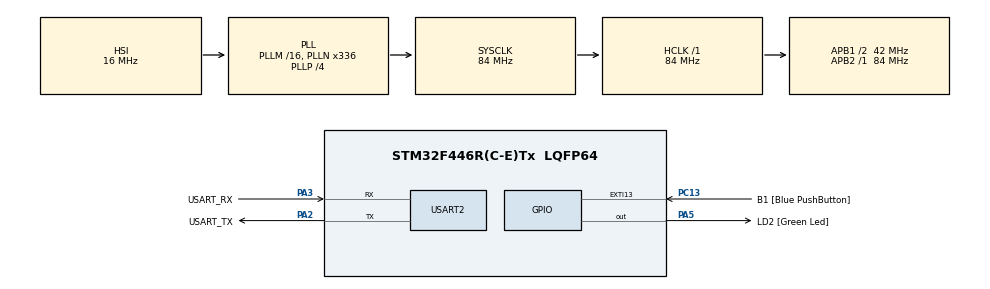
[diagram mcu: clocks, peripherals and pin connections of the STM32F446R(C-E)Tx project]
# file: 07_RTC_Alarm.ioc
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Mcu.Family=STM32F4
Mcu.Name=STM32F446R(C-E)Tx
Mcu.Package=LQFP64
NVIC.PriorityGroup=NVIC_PRIORITYGROUP_0
NVIC.RTC_Alarm_IRQn=true\:0\:0\:false\:false\:true\:true\:true\:true
PA13.GPIO_Label=TMS
PA13.Mode=Serial_Wire
PA13.Signal=SYS_JTMS-SWDIO
PA14.GPIO_Label=TCK
PA14.Mode=Serial_Wire
PA14.Signal=SYS_JTCK-SWCLK
PA2.GPIO_Label=USART_TX
PA2.Mode=Asynchronous
PA2.Signal=USART2_TX
PA3.GPIO_Label=USART_RX
PA3.Mode=Asynchronous
PA3.Signal=USART2_RX
PA5.GPIO_Label=LD2 [Green Led]
PA5.Signal=GPIO_Output
PB3.GPIO_Label=SWO
PB3.Signal=SYS_JTDO-SWO
PC13.GPIO_Label=B1 [Blue PushButton]
PC13.GPIO_ModeDefaultEXTI=GPIO_MODE_IT_FALLING
PC13.Signal=GPXTI13
PC14-OSC32_IN.Mode=LSE-External-Oscillator
PC14-OSC32_IN.Signal=RCC_OSC32_IN
PC15-OSC32_OUT.Mode=LSE-External-Oscillator
PC15-OSC32_OUT.Signal=RCC_OSC32_OUT
PH0-OSC_IN.Mode=HSE-External-Oscillator
PH0-OSC_IN.Signal=RCC_OSC_IN
PH1-OSC_OUT.Mode=HSE-External-Oscillator
PH1-OSC_OUT.Signal=RCC_OSC_OUT
ProjectManager.HeapSize=0x200
ProjectManager.StackSize=0x400
ProjectManager.TargetToolchain=CMake
RCC.48MHZClocksFreq_Value=84000000
RCC.AHBFreq_Value=84000000
RCC.APB1CLKDivider=RCC_HCLK_DIV2
RCC.APB1Freq_Value=42000000
RCC.APB1TimFreq_Value=84000000
RCC.APB2Freq_Value=84000000
RCC.APB2TimFreq_Value=84000000
RCC.CortexFreq_Value=84000000
RCC.FLatency-AdvancedSettings=FLASH_LATENCY_2
RCC.HCLKFreq_Value=84000000
RCC.HSE_VALUE=8000000
RCC.HSI_VALUE=16000000
RCC.PLLN=336
RCC.PLLP=RCC_PLLP_DIV4
RCC.SYSCLKFreq_VALUE=84000000
RCC.SYSCLKSource=RCC_SYSCLKSOURCE_PLLCLK
RCC.USBFreq_Value=168000000
RCC.VCOOutputFreq_Value=336000000
RTC.Alarm=RTC_ALARM_A
USART2.VirtualMode=VM_ASYNC
VP_RTC_VS_RTC_Activate.Mode=RTC_Enabled
VP_RTC_VS_RTC_Alarm_A_Intern.Mode=Alarm A
VP_RTC_VS_RTC_Calendar.Mode=RTC_Calendar
board=NUCLEO-F446RE

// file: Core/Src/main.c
/* USER CODE BEGIN Header */
/**
 ******************************************************************************
 * @file           : main.c
 * @brief          : Main program body
 ******************************************************************************
 * @attention
 *
 * Copyright (c) 2025 STMicroelectronics.
 * All rights reserved.
 *
 * This software is licensed under terms that can be found in the LICENSE file
 * in the root directory of this software component.
 * If no LICENSE file comes with this software, it is provided AS-IS.
 *
 ******************************************************************************
 */
/* USER CODE END Header */
#include "main.h"

/* USER CODE BEGIN Includes */
#include <stdio.h>
#include <string.h>
/* USER CODE END Includes */

RTC_HandleTypeDef hrtc;

UART_HandleTypeDef huart2;

void SystemClock_Config(void);
static void MX_GPIO_Init(void);
static void MX_USART2_UART_Init(void);
static void MX_RTC_Init(void);

int main(void)
{

  /* MCU Configuration--------------------------------------------------------*/

  /* Reset of all peripherals, Initializes the Flash interface and the Systick. */
  HAL_Init();

  /* Configure the system clock */
  SystemClock_Config();

  /* Initialize all configured peripherals */
  MX_GPIO_Init();
  MX_USART2_UART_Init();
  MX_RTC_Init();
  /* USER CODE BEGIN 2 */
  /* 1. Imposta Orario Corrente (es. 12:00:00) */
  RTC_TimeTypeDef sTime = {0};
  sTime.Hours = 0x12; // Formato BCD (es. 0x12 = 12 dec)
  sTime.Minutes = 0x00;
  sTime.Seconds = 0x00;
  HAL_RTC_SetTime(&hrtc, &sTime, RTC_FORMAT_BCD);

  /* 2. Imposta Allarme (es. 12:00:10 - Tra 10 secondi) */
  RTC_AlarmTypeDef sAlarm = {0};
  sAlarm.AlarmTime.Hours = 0x12;
  sAlarm.AlarmTime.Minutes = 0x00;
  sAlarm.AlarmTime.Seconds = 0x10;
  sAlarm.Alarm = RTC_ALARM_A;
  // Maschera la data: l'allarme suonerà ogni giorno a quest'ora
  sAlarm.AlarmMask = RTC_ALARMMASK_DATEWEEKDAY;

  HAL_RTC_SetAlarm_IT(&hrtc, &sAlarm, RTC_FORMAT_BCD);
  /* USER CODE END 2 */

  /* Infinite loop */
  while (1)
  {
    RTC_TimeTypeDef gTime;
    RTC_DateTypeDef gDate;

    // NECESSARIO: Leggere sempre PRIMA l'ora e POI la data per sbloccare i registri
    HAL_RTC_GetTime(&hrtc, &gTime, RTC_FORMAT_BIN);
    HAL_RTC_GetDate(&hrtc, &gDate, RTC_FORMAT_BIN);

    // Stampa su UART
    char msg[30];
    sprintf(msg, "Time: %02d:%02d:%02d\r", gTime.Hours, gTime.Minutes, gTime.Seconds);
    HAL_UART_Transmit(&huart2, (uint8_t *)msg, strlen(msg), 100);

    HAL_Delay(1000);
  }
}

void SystemClock_Config(void)
{
  RCC_OscInitTypeDef RCC_OscInitStruct = {0};
  RCC_ClkInitTypeDef RCC_ClkInitStruct = {0};

  /** Configure the main internal regulator output voltage
   */
  __HAL_RCC_PWR_CLK_ENABLE();
  __HAL_PWR_VOLTAGESCALING_CONFIG(PWR_REGULATOR_VOLTAGE_SCALE3);

  /** Initializes the RCC Oscillators according to the specified parameters
   * in the RCC_OscInitTypeDef structure.
   */
  RCC_OscInitStruct.OscillatorType = RCC_OSCILLATORTYPE_HSI | RCC_OSCILLATORTYPE_LSI;
  RCC_OscInitStruct.LSEState = RCC_LSE_ON;
  RCC_OscInitStruct.HSIState = RCC_HSI_ON;
  RCC_OscInitStruct.HSICalibrationValue = RCC_HSICALIBRATION_DEFAULT;
  RCC_OscInitStruct.LSIState = RCC_LSI_ON;
  RCC_OscInitStruct.PLL.PLLState = RCC_PLL_ON;
  RCC_OscInitStruct.PLL.PLLSource = RCC_PLLSOURCE_HSI;
  RCC_OscInitStruct.PLL.PLLM = 16;
  RCC_OscInitStruct.PLL.PLLN = 336;
  RCC_OscInitStruct.PLL.PLLP = RCC_PLLP_DIV4;
  RCC_OscInitStruct.PLL.PLLQ = 2;
  RCC_OscInitStruct.PLL.PLLR = 2;
  if (HAL_RCC_OscConfig(&RCC_OscInitStruct) != HAL_OK)
  {
    Error_Handler();
  }

  /** Initializes the CPU, AHB and APB buses clocks
   */
  RCC_ClkInitStruct.ClockType = RCC_CLOCKTYPE_HCLK | RCC_CLOCKTYPE_SYSCLK | RCC_CLOCKTYPE_PCLK1 | RCC_CLOCKTYPE_PCLK2;
  RCC_ClkInitStruct.SYSCLKSource = RCC_SYSCLKSOURCE_PLLCLK;
  RCC_ClkInitStruct.AHBCLKDivider = RCC_SYSCLK_DIV1;
  RCC_ClkInitStruct.APB1CLKDivider = RCC_HCLK_DIV2;
  RCC_ClkInitStruct.APB2CLKDivider = RCC_HCLK_DIV1;

  if (HAL_RCC_ClockConfig(&RCC_ClkInitStruct, FLASH_LATENCY_2) != HAL_OK)
  {
    Error_Handler();
  }
}

static void MX_RTC_Init(void)
{

  RTC_TimeTypeDef sTime = {0};
  RTC_DateTypeDef sDate = {0};
  RTC_AlarmTypeDef sAlarm = {0};

  /** Initialize RTC Only
   */
  hrtc.Instance = RTC;
  hrtc.Init.HourFormat = RTC_HOURFORMAT_24;
  hrtc.Init.AsynchPrediv = 127;
  hrtc.Init.SynchPrediv = 255;
  hrtc.Init.OutPut = RTC_OUTPUT_DISABLE;
  hrtc.Init.OutPutPolarity = RTC_OUTPUT_POLARITY_HIGH;
  hrtc.Init.OutPutType = RTC_OUTPUT_TYPE_OPENDRAIN;
  if (HAL_RTC_Init(&hrtc) != HAL_OK)
  {
    Error_Handler();
  }

  /** Initialize RTC and set the Time and Date
   */
  sTime.Hours = 0x0;
  sTime.Minutes = 0x0;
  sTime.Seconds = 0x0;
  sTime.DayLightSaving = RTC_DAYLIGHTSAVING_NONE;
  sTime.StoreOperation = RTC_STOREOPERATION_RESET;
  if (HAL_RTC_SetTime(&hrtc, &sTime, RTC_FORMAT_BCD) != HAL_OK)
  {
    Error_Handler();
  }
  sDate.WeekDay = RTC_WEEKDAY_MONDAY;
  sDate.Month = RTC_MONTH_JANUARY;
  sDate.Date = 0x1;
  sDate.Year = 0x0;

  if (HAL_RTC_SetDate(&hrtc, &sDate, RTC_FORMAT_BCD) != HAL_OK)
  {
    Error_Handler();
  }

  /** Enable the Alarm A
   */
  sAlarm.AlarmTime.Hours = 0x0;
  sAlarm.AlarmTime.Minutes = 0x0;
  sAlarm.AlarmTime.Seconds = 0x0;
  sAlarm.AlarmTime.SubSeconds = 0x0;
  sAlarm.AlarmTime.DayLightSaving = RTC_DAYLIGHTSAVING_NONE;
  sAlarm.AlarmTime.StoreOperation = RTC_STOREOPERATION_RESET;
  sAlarm.AlarmMask = RTC_ALARMMASK_NONE;
  sAlarm.AlarmSubSecondMask = RTC_ALARMSUBSECONDMASK_ALL;
  sAlarm.AlarmDateWeekDaySel = RTC_ALARMDATEWEEKDAYSEL_DATE;
  sAlarm.AlarmDateWeekDay = 0x1;
  sAlarm.Alarm = RTC_ALARM_A;
  if (HAL_RTC_SetAlarm_IT(&hrtc, &sAlarm, RTC_FORMAT_BCD) != HAL_OK)
  {
    Error_Handler();
  }
}

static void MX_USART2_UART_Init(void)
{

  huart2.Instance = USART2;
  huart2.Init.BaudRate = 115200;
  huart2.Init.WordLength = UART_WORDLENGTH_8B;
  huart2.Init.StopBits = UART_STOPBITS_1;
  huart2.Init.Parity = UART_PARITY_NONE;
  huart2.Init.Mode = UART_MODE_TX_RX;
  huart2.Init.HwFlowCtl = UART_HWCONTROL_NONE;
  huart2.Init.OverSampling = UART_OVERSAMPLING_16;
  if (HAL_UART_Init(&huart2) != HAL_OK)
  {
    Error_Handler();
  }
}

static void MX_GPIO_Init(void)
{
  GPIO_InitTypeDef GPIO_InitStruct = {0};

  /* GPIO Ports Clock Enable */
  __HAL_RCC_GPIOC_CLK_ENABLE();
  __HAL_RCC_GPIOH_CLK_ENABLE();
  __HAL_RCC_GPIOA_CLK_ENABLE();
  __HAL_RCC_GPIOB_CLK_ENABLE();

  /*Configure GPIO pin Output Level */
  HAL_GPIO_WritePin(LD2_GPIO_Port, LD2_Pin, GPIO_PIN_RESET);

  /*Configure GPIO pin : B1_Pin */
  GPIO_InitStruct.Pin = B1_Pin;
  GPIO_InitStruct.Mode = GPIO_MODE_IT_FALLING;
  GPIO_InitStruct.Pull = GPIO_NOPULL;
  HAL_GPIO_Init(B1_GPIO_Port, &GPIO_InitStruct);

  /*Configure GPIO pin : LD2_Pin */
  GPIO_InitStruct.Pin = LD2_Pin;
  GPIO_InitStruct.Mode = GPIO_MODE_OUTPUT_PP;
  GPIO_InitStruct.Pull = GPIO_NOPULL;
  GPIO_InitStruct.Speed = GPIO_SPEED_FREQ_LOW;
  HAL_GPIO_Init(LD2_GPIO_Port, &GPIO_InitStruct);

}

/* USER CODE BEGIN 4 */
void HAL_RTC_AlarmAEventCallback(RTC_HandleTypeDef *hrtc)
{
  char msg[] = "\r\n[ALARM] DRIIIN! Sveglia attivata!\r\n";
  HAL_UART_Transmit(&huart2, (uint8_t *)msg, strlen(msg), 100);

  // Accendi LED fisso
  HAL_GPIO_WritePin(LD2_GPIO_Port, LD2_Pin, GPIO_PIN_SET);
}
/* USER CODE END 4 */

void Error_Handler(void)
{
  __disable_irq();
  while (1)
  {
  }
}
